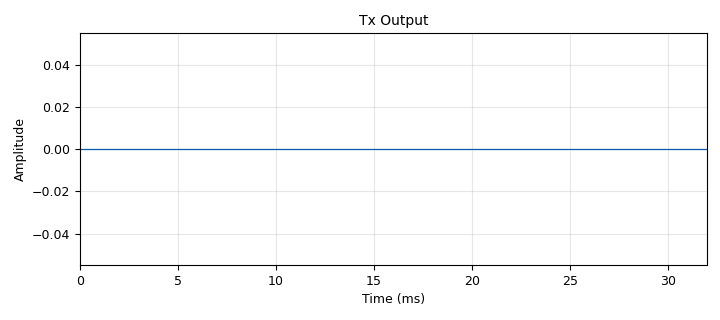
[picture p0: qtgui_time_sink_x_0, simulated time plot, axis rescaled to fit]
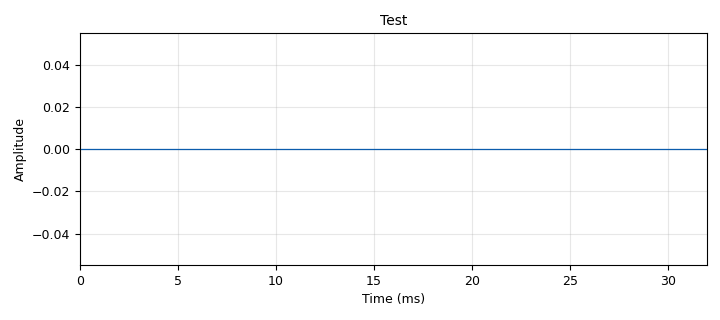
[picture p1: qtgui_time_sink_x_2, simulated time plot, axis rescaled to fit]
options:
  parameters:
    author: KF0STK
    generate_options: qt_gui
    id: morse_code_tx
    output_language: python
    title: Morse Code Tx
  states: {}

blocks:
- name: samp_rate
  id: variable
  parameters:
    value: '32000'
  states: {}
- name: volume
  id: variable_qtgui_range
  parameters:
    start: '0'
    step: '50e-3'
    stop: '1'
    value: '50e-3'
  states: {}
- name: analog_sig_source_x_0
  id: analog_sig_source_x
  parameters:
    amp: '1'
    freq: '1000'
    offset: '0'
    phase: '0'
    samp_rate: samp_rate
    type: complex
    waveform: analog.GR_COS_WAVE
  states: {}
- name: audio_sink_0
  id: audio_sink
  parameters:
    samp_rate: samp_rate
  states: {}
- name: blocks_complex_to_float_0
  id: blocks_complex_to_float
  parameters: {}
  states: {}
- name: blocks_complex_to_mag_0
  id: blocks_complex_to_mag
  parameters: {}
  states: {}
- name: blocks_keep_one_in_n_0
  id: blocks_keep_one_in_n
  parameters:
    type: float
  states: {state: disabled}
- name: blocks_multiply_const_vxx_0
  id: blocks_multiply_const_vxx
  parameters:
    const: volume
    type: float
  states: {}
- name: blocks_multiply_xx_0
  id: blocks_multiply_xx
  parameters:
    type: complex
  states: {}
- name: blocks_repeat_0
  id: blocks_repeat
  parameters:
    interp: '6000'
    type: complex
  states: {}
- name: blocks_threshold_ff_0
  id: blocks_threshold_ff
  parameters:
    high: '100'
    init: '0'
    low: '-100'
  states: {state: disabled}
- name: blocks_throttle_0
  id: blocks_throttle
  parameters:
    samples_per_second: samp_rate
    type: complex
  states: {}
- name: blocks_vector_source_x_0
  id: blocks_vector_source_x
  parameters:
    repeat: 'True'
    type: complex
    vector: (1, 1, 1, 0, 1, 1, 1, 0, 0, 0, 1, 0, 1, 0, 1, 1, 1, 0, 1, 0, 0, 0, 1, 1, 1, 0, 1, 1, 1, 0, 1, 1, 1, 0, 1, 1, 1, 0, 1, 1, 1, 0, 0, 0, 1, 0, 1, 0, 1, 0, 0, 0, 1, 1, 1, 0, 0, 0, 1, 1, 1, 0, 1, 0, 1, 1, 1, 0, 0, 0, 0, 0, 0, 0)
  states: {}
- name: qtgui_time_sink_x_0
  id: qtgui_time_sink_x
  parameters:
    ctrlpanel: 'True'
    name: '"Tx Output"'
    size: '1024'
    srate: samp_rate
    type: float
  states: {}
- name: qtgui_time_sink_x_1
  id: qtgui_time_sink_x
  parameters:
    name: '"Thresholded Rx"'
    size: '1024'
    srate: samp_rate
    type: float
  states: {state: disabled}
- name: qtgui_time_sink_x_2
  id: qtgui_time_sink_x
  parameters:
    ctrlpanel: 'True'
    name: '"Test"'
    size: '1024'
    srate: samp_rate
    type: float
  states: {}
- name: virtual_sink_0
  id: virtual_sink
  parameters:
    stream_id: tx
  states: {}
- name: virtual_source_0
  id: virtual_source
  parameters:
    stream_id: tx
  states: {}

connections:
- [analog_sig_source_x_0, '0', blocks_throttle_0, '0']
- [blocks_complex_to_float_0, '0', blocks_multiply_const_vxx_0, '0']
- [blocks_complex_to_mag_0, '0', blocks_threshold_ff_0, '0']
- [blocks_complex_to_mag_0, '0', qtgui_time_sink_x_2, '0']
- [blocks_keep_one_in_n_0, '0', qtgui_time_sink_x_1, '0']
- [blocks_multiply_const_vxx_0, '0', audio_sink_0, '0']
- [blocks_multiply_const_vxx_0, '0', qtgui_time_sink_x_0, '0']
- [blocks_multiply_xx_0, '0', blocks_complex_to_float_0, '0']
- [blocks_multiply_xx_0, '0', virtual_sink_0, '0']
- [blocks_repeat_0, '0', blocks_multiply_xx_0, '0']
- [blocks_threshold_ff_0, '0', blocks_keep_one_in_n_0, '0']
- [blocks_throttle_0, '0', blocks_multiply_xx_0, '1']
- [blocks_vector_source_x_0, '0', blocks_repeat_0, '0']
- [virtual_source_0, '0', blocks_complex_to_mag_0, '0']

metadata:
  file_format: 1
